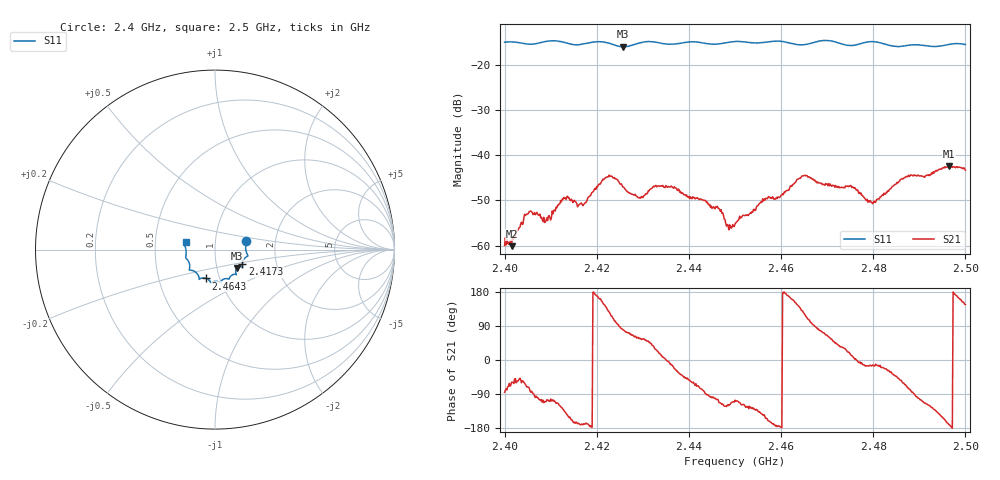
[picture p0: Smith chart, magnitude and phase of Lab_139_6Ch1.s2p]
# Hz S RI R 50
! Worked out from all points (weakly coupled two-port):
!   601 points, 2.4 GHz to 2.5 GHz, reference 50 ohm
!   highest |S21| = -42.45 dB at 2.4965 GHz (marker M1); lowest = -60.1 dB at 2.4015 GHz (marker M2)
!   lowest |S11| = -15.9 dB at 2.4257 GHz (marker M3), VSWR 1.38, Z = 62.5 - j13.1 ohm
!   |S11| at or under -10 dB: start of sweep to end of sweep
!   S12 and S22 are empty: the file has one direction only
!   S11 on the Smith chart (normalised r, x): 2.4 GHz: 1.41, +0.14; 2.4173 GHz: 1.34, -0.23; 2.4643 GHz: 0.86, -0.28; 2.5 GHz: 0.72, +0.06
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2.4e9  0.1733 0.049  8.4e-05 -0.000996  0 0  0 0
2.4015e9  0.1762 0.0433  0.000508 -0.000841  0 0  0 0
2.405333e9  0.1707 0.00984  0.000674 -0.00228  0 0  0 0
2.408833e9  0.1808 -0.028  -0.000627 -0.00171  0 0  0 0
2.413167e9  0.1728 -0.0417  -0.00247 -0.00229  0 0  0 0
2.416667e9  0.153 -0.0746  -0.00291 -0.000551  0 0  0 0
2.417333e9  0.152 -0.0821  -0.00286 -0.000539  0 0  0 0
2.422167e9  0.1507 -0.0951  -0.00415 0.0039  0 0  0 0
2.425667e9  0.123 -0.1022  0.000768 0.00439  0 0  0 0
2.4295e9  0.1165 -0.1345  0.00185 0.00279  0 0  0 0
2.433333e9  0.1128 -0.1375  0.00427 0.00169  0 0  0 0
2.443167e9  0.0688 -0.1621  0.000475 -0.00315  0 0  0 0
2.4465e9  0.0436 -0.1668  -0.000956 -0.00239  0 0  0 0
2.448667e9  0.0325 -0.1767  -0.00075 -0.00129  0 0  0 0
2.45e9  0.0289 -0.1809  -0.000475 -0.00167  0 0  0 0
2.464333e9  -0.05 -0.1605  -0.00389 0.00421  0 0  0 0
2.466667e9  -0.0759 -0.1592  -0.000593 0.00549  0 0  0 0
2.4755e9  -0.1115 -0.1223  0.0044 0.000757  0 0  0 0
2.4795e9  -0.1428 -0.1141  0.00292 -0.000788  0 0  0 0
2.483333e9  -0.1408 -0.0897  0.00355 -0.00184  0 0  0 0
2.4965e9  -0.1685 0.0236  -0.00744 -0.00125  0 0  0 0
2.5e9  -0.164 0.0426  -0.00569 0.00381  0 0  0 0
